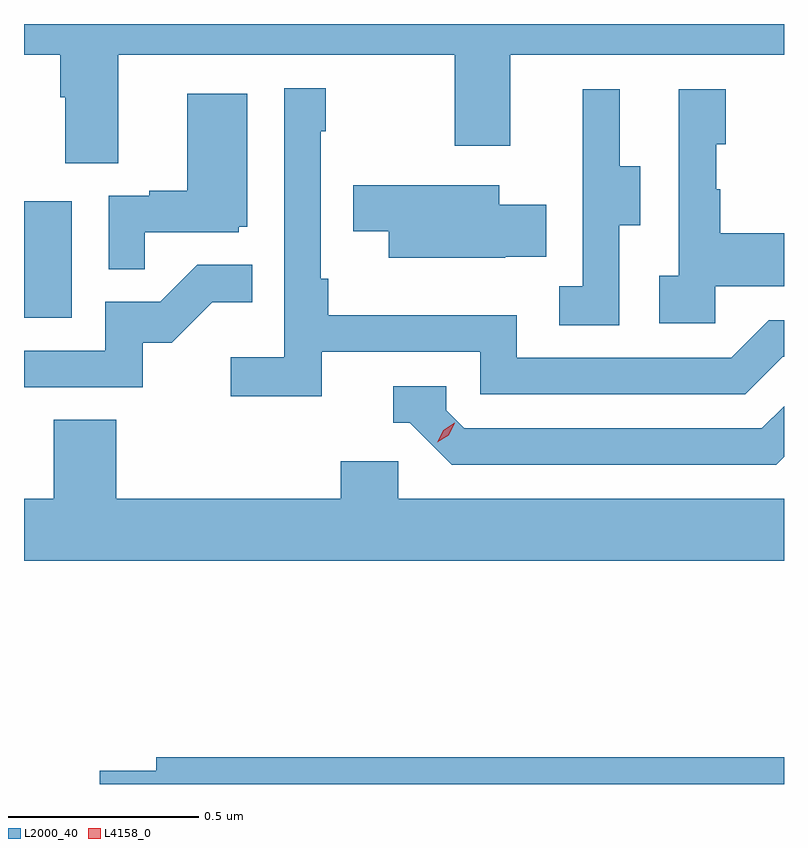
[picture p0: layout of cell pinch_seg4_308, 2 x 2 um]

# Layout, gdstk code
import gdstk
lib = gdstk.Library(unit=1e-6, precision=1e-09)
def R(c, l, rs):  # rectangles x0, y0, x1, y1
    for r in rs: c.add(gdstk.rectangle(r[:2], r[2:], *l))
def P(c, l, *ps):  # polygons
    for p in ps: c.add(gdstk.Polygon(p, *l))
L2000_40 = (2000, 40)
L4158_0 = (4158, 0)

pinch_seg4_308 = lib.new_cell('pinch_seg4_308')
R(pinch_seg4_308, L2000_40, [(948.575,800.124,948.7,800.431)])
P(pinch_seg4_308, L2000_40, [(949.708,800.577),(949.855,800.577),(949.855,800.816),(950.575,800.816),(950.575,800.897),(948.575,800.897),(948.575,800.816),(948.671,800.816),(948.671,800.704),(948.683,800.704),(948.683,800.53),(948.823,800.53),(948.823,800.816),(949.708,800.816)],
  [(949.358,800.034),(949.776,800.034),(949.776,799.923),(950.473,799.923),(950.572,800.022),(950.575,800.022),(950.575,800.118),(950.535,800.118),(950.436,800.019),(949.872,800.019),(949.872,800.131),(949.376,800.131),(949.376,800.227),(949.356,800.227),(949.356,800.615),(949.369,800.615),(949.369,800.728),(949.26,800.728),(949.26,800.02),(949.119,800.02),(949.119,799.918),(949.358,799.918)],
  [(950.142,800.368),(950.197,800.368),(950.197,800.523),(950.143,800.523),(950.143,800.725),(950.045,800.725),(950.045,800.511),(950.046,800.511),(950.046,800.207),(949.983,800.207),(949.983,800.104),(950.142,800.104)],
  [(950.394,800.207),(950.575,800.207),(950.575,800.347),(950.407,800.347),(950.407,800.462),(950.397,800.462),(950.397,800.58),(950.422,800.58),(950.422,800.725),(950.298,800.725),(950.298,800.234),(950.247,800.234),(950.247,800.109),(950.394,800.109)],
  [(948.893,800.349),(949.14,800.349),(949.14,800.364),(949.162,800.364),(949.162,800.713),(949.004,800.713),(949.004,800.458),(948.905,800.458),(948.905,800.445),(948.798,800.445),(948.798,800.251),(948.893,800.251)],
  [(949.841,800.285),(949.949,800.285),(949.949,800.422),(949.825,800.422),(949.825,800.473),(949.441,800.473),(949.441,800.351),(949.535,800.351),(949.535,800.282),(949.841,800.282)],
  [(948.888,800.058),(948.964,800.058),(949.071,800.165),(949.175,800.165),(949.175,800.264),(949.031,800.264),(948.933,800.166),(948.789,800.166),(948.789,800.037),(948.575,800.037),(948.575,799.941),(948.888,799.941)],
  [(950.575,799.758),(950.575,799.891),(950.517,799.833),(949.734,799.833),(949.686,799.881),(949.686,799.944),(949.547,799.944),(949.547,799.848),(949.59,799.848),(949.701,799.737),(950.554,799.737)],
  [(950.575,799.648),(949.56,799.648),(949.56,799.746),(949.409,799.746),(949.409,799.648),(948.818,799.648),(948.818,799.856),(948.653,799.856),(948.653,799.648),(948.575,799.648),(948.575,799.484),(950.575,799.484)],
  [(950.575,798.968),(948.923,798.968),(948.923,798.932),(948.774,798.932),(948.774,798.897),(950.575,798.897)])
P(pinch_seg4_308, L4158_0, [(949.662,799.796),(949.662,799.796),(949.678,799.828),(949.709,799.848),(949.709,799.848),(949.709,799.848),(949.693,799.815),(949.662,799.796)])

lib.write_gds('pinch_seg4_308.gds')
